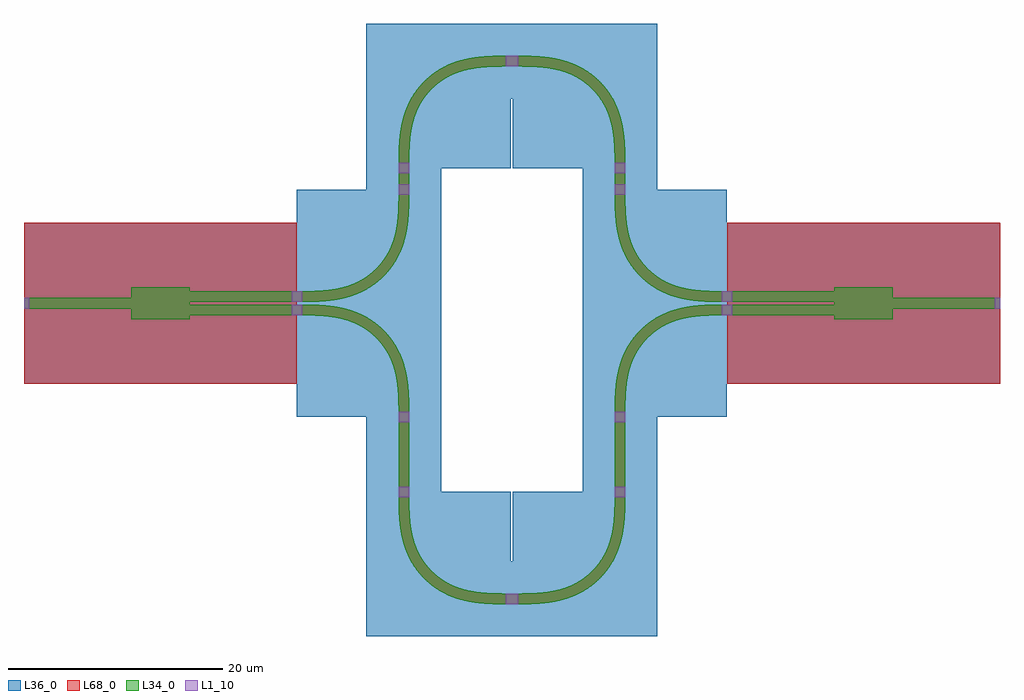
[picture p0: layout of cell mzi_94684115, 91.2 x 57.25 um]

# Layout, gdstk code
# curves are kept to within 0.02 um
from math import pi, radians
import gdstk
lib = gdstk.Library(unit=1e-6, precision=1e-09)
def R(c, l, rs):  # rectangles x0, y0, x1, y1
    for r in rs: c.add(gdstk.rectangle(r[:2], r[2:], *l))
def P(c, l, *ps):  # polygons
    for p in ps: c.add(gdstk.Polygon(p, *l))
L1_10 = (1, 10)
L34_0 = (34, 0)
L36_0 = (36, 0)
L68_0 = (68, 0)

mmi1x2_26b2c55f = lib.new_cell('mmi1x2_26b2c55f')
R(mmi1x2_26b2c55f, L1_10, [(15,-1.125,15.5,-0.125), (-10,-0.5,-9.5,0.5), (15,0.125,15.5,1.125)])
R(mmi1x2_26b2c55f, L34_0, [(0,-1.5,5.5,1.5), (5.5,-1.125,15.5,-0.125), (-10,-0.5,0,0.5), (5.5,0.125,15.5,1.125)])
R(mmi1x2_26b2c55f, L36_0, [(-10,-7.5,15.5,7.5), (0,-4.5,5.5,4.5), (5.5,-4.125,15.5,2.875), (-10,-3.5,0,3.5), (5.5,-2.875,15.5,4.125)])
R(mmi1x2_26b2c55f, L68_0, [(-10,-7.5,15.5,7.5)])
mmi1x2_26b2c55f.add(gdstk.Label('o1', (0,0), layer=1, texttype=10))
mmi1x2_26b2c55f.add(gdstk.Label('o2', (10,0), layer=1, texttype=10))
mmi1x2_26b2c55f.add(gdstk.Label('o1', (0,0), layer=1, texttype=10))
mmi1x2_26b2c55f.add(gdstk.Label('o2', (10,0), layer=1, texttype=10))
mmi1x2_26b2c55f.add(gdstk.Label('o1', (0,0), layer=1, texttype=10))
mmi1x2_26b2c55f.add(gdstk.Label('o2', (10,0), layer=1, texttype=10))
mmi1x2_26b2c55f.add(gdstk.Label('o1', (0,0), layer=1, texttype=10))
mmi1x2_26b2c55f.add(gdstk.Label('o2', (5.5,0), layer=1, texttype=10))
mmi1x2_26b2c55f.add(gdstk.Label('o1', (-10,0), layer=1, texttype=10))
mmi1x2_26b2c55f.add(gdstk.Label('o2', (15.5,0.625), layer=1, texttype=10))
mmi1x2_26b2c55f.add(gdstk.Label('o3', (15.5,-0.625), layer=1, texttype=10))

bend_euler_c80f6a22 = lib.new_cell('bend_euler_c80f6a22')
R(bend_euler_c80f6a22, L1_10, [(0,-0.5,0.5,0.5), (9.5,9.5,10.5,10)])
P(bend_euler_c80f6a22, L34_0, [(0.047,-0.5),(2.077,-0.463),(2.939,-0.395),(3.757,-0.281),(4.476,-0.129),(5.187,0.08),(5.745,0.295),(6.262,0.541),(2.114,0.541),(0,0.5),(0,-0.5)],
  [(6.289,0.556),(6.896,0.913),(7.428,1.294),(7.997,1.789),(8.482,2.3),(7.075,2.3),(6.601,1.923),(6.052,1.567),(5.549,1.303),(4.945,1.055),(4.276,0.852),(3.584,0.704),(2.743,0.59),(2.114,0.541)],
  [(8.515,2.339),(9.087,3.104),(9.602,4.026),(9.92,4.813),(10.216,5.907),(9.192,5.907),(9.054,5.386),(8.869,4.851),(8.64,4.333),(8.389,3.873),(8.077,3.399),(7.781,3.02),(7.075,2.3),(8.482,2.3)],
  [(10.226,5.955),(10.361,6.772),(10.442,7.589),(10.486,8.495),(10.5,10),(9.5,10),(9.489,8.615),(9.441,7.616),(9.345,6.723),(9.192,5.907),(10.216,5.907)])
R(bend_euler_c80f6a22, L36_0, [(0,-3.5,13.5,10)])
P(bend_euler_c80f6a22, L68_0, [(0.047,-0.5),(2.077,-0.463),(2.939,-0.395),(3.757,-0.281),(4.476,-0.129),(5.187,0.08),(5.745,0.295),(6.262,0.541),(2.114,0.541),(0,0.5),(0,-0.5)],
  [(6.289,0.556),(6.896,0.913),(7.428,1.294),(7.997,1.789),(8.482,2.3),(7.075,2.3),(6.601,1.923),(6.052,1.567),(5.549,1.303),(4.945,1.055),(4.276,0.852),(3.584,0.704),(2.743,0.59),(2.114,0.541)],
  [(8.515,2.339),(9.087,3.104),(9.602,4.026),(9.92,4.813),(10.216,5.907),(9.192,5.907),(9.054,5.386),(8.869,4.851),(8.64,4.333),(8.389,3.873),(8.077,3.399),(7.781,3.02),(7.075,2.3),(8.482,2.3)],
  [(10.226,5.955),(10.361,6.772),(10.442,7.589),(10.486,8.495),(10.5,10),(9.5,10),(9.489,8.615),(9.441,7.616),(9.345,6.723),(9.192,5.907),(10.216,5.907)])
bend_euler_c80f6a22.add(gdstk.Label('o1', (0,0), layer=1, texttype=10))
bend_euler_c80f6a22.add(gdstk.Label('o2', (10,10), layer=1, texttype=10))

straight_322940cd = lib.new_cell('straight_322940cd')
R(straight_322940cd, L1_10, [(0,-0.5,0.5,0.5), (6.5,-0.5,7,0.5)])
R(straight_322940cd, L34_0, [(0,-0.5,7,0.5)])
R(straight_322940cd, L36_0, [(0,-3.5,7,3.5)])
R(straight_322940cd, L68_0, [(0,-0.5,7,0.5)])
straight_322940cd.add(gdstk.Label('o1', (0,0), layer=1, texttype=10))
straight_322940cd.add(gdstk.Label('o2', (7,0), layer=1, texttype=10))

straight_05e33842 = lib.new_cell('straight_05e33842')
R(straight_05e33842, L1_10, [(-0.4,-0.5,0.1,0.5), (0,-0.5,0.5,0.5)])
R(straight_05e33842, L34_0, [(0,-0.5,0.1,0.5)])
R(straight_05e33842, L36_0, [(-0.4,-3.5,0.5,3.5)])
R(straight_05e33842, L68_0, [(0,-0.5,0.1,0.5)])
straight_05e33842.add(gdstk.Label('o1', (0,0), layer=1, texttype=10))
straight_05e33842.add(gdstk.Label('o2', (0.1,0), layer=1, texttype=10))

straight_ac4502fd = lib.new_cell('straight_ac4502fd')
R(straight_ac4502fd, L1_10, [(0,-0.5,0.5,0.5), (1.5,-0.5,2,0.5)])
R(straight_ac4502fd, L34_0, [(0,-0.5,2,0.5)])
R(straight_ac4502fd, L36_0, [(0,-3.5,2,3.5)])
R(straight_ac4502fd, L68_0, [(0,-0.5,2,0.5)])
straight_ac4502fd.add(gdstk.Label('o1', (0,0), layer=1, texttype=10))
straight_ac4502fd.add(gdstk.Label('o2', (2,0), layer=1, texttype=10))

straight_5abb8caa = lib.new_cell('straight_5abb8caa')
R(straight_5abb8caa, L1_10, [(-0.41,-0.5,0.09,0.5), (0,-0.5,0.5,0.5)])
R(straight_5abb8caa, L34_0, [(0,-0.5,0.09,0.5)])
R(straight_5abb8caa, L36_0, [(-0.41,-3.5,0.5,3.5)])
R(straight_5abb8caa, L68_0, [(0,-0.5,0.09,0.5)])
straight_5abb8caa.add(gdstk.Label('o1', (0,0), layer=1, texttype=10))
straight_5abb8caa.add(gdstk.Label('o2', (0.09,0), layer=1, texttype=10))

straight_4e9e4700 = lib.new_cell('straight_4e9e4700')
R(straight_4e9e4700, L1_10, [(0,-0.5,0.5,0.5), (1.5,-0.5,2,0.5)])
R(straight_4e9e4700, L34_0, [(0,-0.5,2,0.5)])
R(straight_4e9e4700, L36_0, [(0,-3.5,2,3.5)])
R(straight_4e9e4700, L68_0, [(0,-0.5,2,0.5)])
straight_4e9e4700.add(gdstk.Label('o1', (0,0), layer=1, texttype=10))
straight_4e9e4700.add(gdstk.Label('o2', (2,0), layer=1, texttype=10))

straight_f91b18e7 = lib.new_cell('straight_f91b18e7')
R(straight_f91b18e7, L1_10, [(-0.49,-0.5,0.01,0.5), (0,-0.5,0.5,0.5)])
R(straight_f91b18e7, L34_0, [(0,-0.5,0.01,0.5)])
R(straight_f91b18e7, L36_0, [(-0.49,-3.5,0.5,3.5)])
R(straight_f91b18e7, L68_0, [(0,-0.5,0.01,0.5)])
straight_f91b18e7.add(gdstk.Label('o1', (0,0), layer=1, texttype=10))
straight_f91b18e7.add(gdstk.Label('o2', (0.01,0), layer=1, texttype=10))

straight_54f252c8 = lib.new_cell('straight_54f252c8')
R(straight_54f252c8, L1_10, [(0,-0.5,0.5,0.5), (6.5,-0.5,7,0.5)])
R(straight_54f252c8, L34_0, [(0,-0.5,7,0.5)])
R(straight_54f252c8, L36_0, [(0,-3.5,7,3.5)])
R(straight_54f252c8, L68_0, [(0,-0.5,7,0.5)])
straight_54f252c8.add(gdstk.Label('o1', (0,0), layer=1, texttype=10))
straight_54f252c8.add(gdstk.Label('o2', (7,0), layer=1, texttype=10))

mzi_94684115 = lib.new_cell('mzi_94684115')
mzi_94684115.add(gdstk.Reference(mmi1x2_26b2c55f, (0,0)))
mzi_94684115.add(gdstk.Reference(mmi1x2_26b2c55f, (71.2,0), rotation=pi, x_reflection=True))
mzi_94684115.add(gdstk.Reference(bend_euler_c80f6a22, (15.5,-0.625), x_reflection=True))
mzi_94684115.add(gdstk.Reference(straight_322940cd, (25.5,-10.625), rotation=3*pi/2))
mzi_94684115.add(gdstk.Reference(bend_euler_c80f6a22, (25.5,-17.625), rotation=3*pi/2))
mzi_94684115.add(gdstk.Reference(straight_05e33842, (35.5,-27.625)))
mzi_94684115.add(gdstk.Reference(bend_euler_c80f6a22, (15.5,0.625)))
mzi_94684115.add(gdstk.Reference(straight_ac4502fd, (25.5,10.625), rotation=pi/2))
mzi_94684115.add(gdstk.Reference(bend_euler_c80f6a22, (35.5,22.625), rotation=pi))
mzi_94684115.add(gdstk.Reference(straight_05e33842, (35.5,22.625)))
mzi_94684115.add(gdstk.Reference(bend_euler_c80f6a22, (35.69,22.625), x_reflection=True))
mzi_94684115.add(gdstk.Reference(bend_euler_c80f6a22, (45.69,10.625), rotation=3*pi/2))
mzi_94684115.add(gdstk.Reference(straight_5abb8caa, (35.6,22.625)))
mzi_94684115.add(gdstk.Reference(straight_4e9e4700, (45.69,12.625), rotation=3*pi/2))
mzi_94684115.add(gdstk.Reference(straight_f91b18e7, (55.69,0.625)))
mzi_94684115.add(gdstk.Reference(bend_euler_c80f6a22, (35.69,-27.625)))
mzi_94684115.add(gdstk.Reference(bend_euler_c80f6a22, (45.69,-10.625), rotation=pi/2, x_reflection=True))
mzi_94684115.add(gdstk.Reference(straight_5abb8caa, (35.6,-27.625)))
mzi_94684115.add(gdstk.Reference(straight_54f252c8, (45.69,-17.625), rotation=pi/2))
mzi_94684115.add(gdstk.Reference(straight_f91b18e7, (55.69,-0.625)))

lib.write_gds('mzi_94684115.gds')
